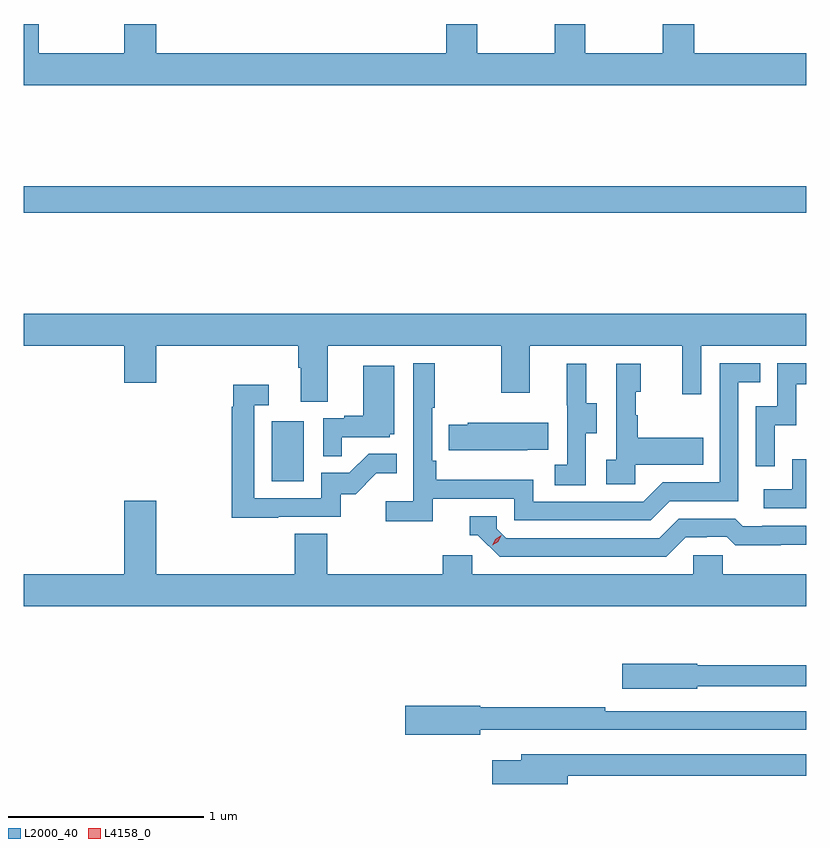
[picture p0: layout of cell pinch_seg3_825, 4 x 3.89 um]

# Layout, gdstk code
import gdstk
lib = gdstk.Library(unit=1e-6, precision=1e-09)
def R(c, l, rs):  # rectangles x0, y0, x1, y1
    for r in rs: c.add(gdstk.rectangle(r[:2], r[2:], *l))
def P(c, l, *ps):  # polygons
    for p in ps: c.add(gdstk.Polygon(p, *l))
L2000_40 = (2000, 40)
L4158_0 = (4158, 0)

pinch_seg3_825 = lib.new_cell('pinch_seg3_825')
R(pinch_seg3_825, L2000_40, [(837.092,720.204,837.256,720.511), (835.824,721.576,839.824,721.712)])
P(pinch_seg3_825, L2000_40, [(839.824,722.392),(839.252,722.392),(839.252,722.542),(839.092,722.542),(839.092,722.392),(838.694,722.392),(838.694,722.542),(838.54,722.542),(838.54,722.392),(838.142,722.392),(838.142,722.542),(837.983,722.542),(837.983,722.392),(836.5,722.392),(836.5,722.542),(836.336,722.542),(836.336,722.392),(835.899,722.392),(835.899,722.542),(835.824,722.542),(835.824,722.228),(839.824,722.228)],
  [(837.379,720.896),(838.264,720.896),(838.264,720.657),(838.411,720.657),(838.411,720.896),(839.192,720.896),(839.192,720.648),(839.289,720.648),(839.289,720.896),(839.824,720.896),(839.824,721.06),(835.824,721.06),(835.824,720.896),(836.336,720.896),(836.336,720.708),(836.5,720.708),(836.5,720.896),(837.227,720.896),(837.227,720.784),(837.239,720.784),(837.239,720.61),(837.379,720.61)],
  [(837.914,720.114),(838.332,720.114),(838.332,720.003),(839.029,720.003),(839.128,720.102),(839.478,720.102),(839.478,720.711),(839.591,720.711),(839.591,720.807),(839.382,720.807),(839.382,720.198),(839.091,720.198),(838.992,720.099),(838.428,720.099),(838.428,720.211),(837.932,720.211),(837.932,720.307),(837.912,720.307),(837.912,720.58),(837.925,720.58),(837.925,720.808),(837.816,720.808),(837.816,720.1),(837.675,720.1),(837.675,719.998),(837.914,719.998)],
  [(839.664,720.491),(839.774,720.491),(839.774,720.699),(839.824,720.699),(839.824,720.807),(839.676,720.807),(839.676,720.588),(839.568,720.588),(839.568,720.279),(839.664,720.279)],
  [(838.95,720.287),(839.297,720.287),(839.297,720.427),(838.963,720.427),(838.963,720.542),(838.953,720.542),(838.953,720.66),(838.978,720.66),(838.978,720.805),(838.854,720.805),(838.854,720.314),(838.803,720.314),(838.803,720.189),(838.95,720.189)],
  [(838.698,720.448),(838.753,720.448),(838.753,720.603),(838.699,720.603),(838.699,720.805),(838.601,720.805),(838.601,720.591),(838.602,720.591),(838.602,720.287),(838.539,720.287),(838.539,720.184),(838.698,720.184)],
  [(837.449,720.429),(837.696,720.429),(837.696,720.444),(837.718,720.444),(837.718,720.793),(837.56,720.793),(837.56,720.538),(837.461,720.538),(837.461,720.525),(837.354,720.525),(837.354,720.331),(837.449,720.331)],
  [(837.125,720.021),(837.444,720.021),(837.444,720.138),(837.52,720.138),(837.627,720.245),(837.731,720.245),(837.731,720.344),(837.587,720.344),(837.489,720.246),(837.345,720.246),(837.345,720.117),(837.003,720.117),(837.003,720.591),(837.076,720.591),(837.076,720.697),(836.895,720.697),(836.895,720.584),(836.887,720.584),(836.887,720.016),(837.125,720.016)],
  [(838.397,720.365),(838.505,720.365),(838.505,720.502),(838.095,720.502),(838.095,720.492),(837.997,720.492),(837.997,720.362),(838.397,720.362)],
  [(839.824,720.316),(839.754,720.316),(839.754,720.162),(839.607,720.162),(839.607,720.066),(839.824,720.066)],
  [(839.824,719.728),(839.397,719.728),(839.397,719.826),(839.247,719.826),(839.247,719.728),(838.116,719.728),(838.116,719.826),(837.965,719.826),(837.965,719.728),(837.374,719.728),(837.374,719.936),(837.209,719.936),(837.209,719.728),(836.5,719.728),(836.5,720.103),(836.336,720.103),(836.336,719.728),(835.824,719.728),(835.824,719.564),(839.824,719.564)],
  [(839.209,719.916),(839.316,719.916),(839.316,719.919),(839.419,719.919),(839.461,719.877),(839.694,719.877),(839.694,719.879),(839.824,719.879),(839.824,719.976),(839.599,719.976),(839.599,719.973),(839.5,719.973),(839.461,720.012),(839.172,720.012),(839.073,719.913),(838.29,719.913),(838.242,719.961),(838.242,720.024),(838.103,720.024),(838.103,719.928),(838.146,719.928),(838.257,719.817),(839.11,719.817)],
  [(839.268,719.154),(839.824,719.154),(839.824,719.263),(839.268,719.263),(839.268,719.271),(838.884,719.271),(838.884,719.141),(839.268,719.141)],
  [(838.158,718.932),(839.824,718.932),(839.824,719.028),(838.796,719.028),(838.796,719.048),(838.158,719.048),(838.158,719.054),(837.774,719.054),(837.774,718.907),(838.158,718.907)],
  [(838.606,718.698),(839.824,718.698),(839.824,718.806),(838.367,718.806),(838.367,718.777),(838.218,718.777),(838.218,718.655),(838.606,718.655)])
P(pinch_seg3_825, L4158_0, [(838.218,719.875),(838.218,719.876),(838.234,719.908),(838.265,719.927),(838.266,719.927),(838.266,719.927),(838.249,719.895),(838.218,719.875)])

lib.write_gds('pinch_seg3_825.gds')
